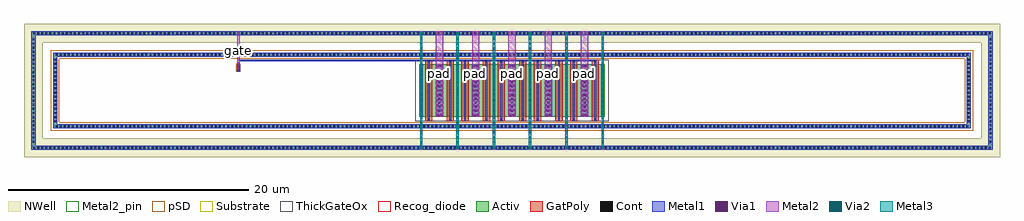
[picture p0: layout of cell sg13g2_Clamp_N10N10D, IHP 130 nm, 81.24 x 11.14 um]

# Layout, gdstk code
import gdstk
lib = gdstk.Library(unit=1e-6, precision=1e-09)
def R(c, l, rs):  # rectangles x0, y0, x1, y1
    for r in rs: c.add(gdstk.rectangle(r[:2], r[2:], *l))
def A(c, l, x, y, w, h, nx, ny, dx, dy):  # array of equal rectangles
    R(c, l, [(x+i*dx, y+j*dy, x+i*dx+w, y+j*dy+h) for i in range(nx) for j in range(ny)])
def P(c, l, *ps):  # polygons
    for p in ps: c.add(gdstk.Polygon(p, *l))
Activ = (1, 0)
GatPoly = (5, 0)
Cont = (6, 0)
Metal1 = (8, 0)
Metal2 = (10, 0)
Metal2_pin = (10, 2)
pSD = (14, 0)
Via1 = (19, 0)
Via2 = (29, 0)
Metal3 = (30, 0)
NWell = (31, 0)
Substrate = (40, 0)
ThickGateOx = (44, 0)
Recog_diode = (99, 31)

sg13g2_guardring_n16000w = lib.new_cell('sg13g2_GuardRing_N16000W1980HFF')
P(sg13g2_guardring_n16000w, Activ, [(-40,-4.95),(-40,4.61),(-39.66,4.61),(-39.66,-4.61),(39.66,-4.61),(39.66,4.61),(-40,4.61),(-40,4.95),(40,4.95),(40,-4.95)])
A(sg13g2_guardring_n16000w, Cont, -39.86, -4.86, 0.16, 0.16, 235, 2, 0.34, 9.56)
A(sg13g2_guardring_n16000w, Cont, -39.91, -4.33, 0.16, 0.16, 1, 26, 0, 0.34)
A(sg13g2_guardring_n16000w, Cont, 39.75, -4.33, 0.16, 0.16, 1, 26, 0, 0.34)
P(sg13g2_guardring_n16000w, Metal1, [(-40,-4.95),(-40,4.61),(-39.66,4.61),(-39.66,-4.61),(39.66,-4.61),(39.66,4.61),(-40,4.61),(-40,4.95),(40,4.95),(40,-4.95)])
P(sg13g2_guardring_n16000w, NWell, [(-40.62,-5.57),(-40.62,3.99),(-39.04,3.99),(-39.04,-3.99),(39.04,-3.99),(39.04,3.99),(-40.62,3.99),(-40.62,5.57),(40.62,5.57),(40.62,-5.57)])

sg13g2_guardring_p15280w = lib.new_cell('sg13g2_GuardRing_P15280W1260HFF')
P(sg13g2_guardring_p15280w, Activ, [(-38.2,-3.15),(-38.2,2.81),(-37.86,2.81),(-37.86,-2.81),(37.86,-2.81),(37.86,2.81),(-38.2,2.81),(-38.2,3.15),(38.2,3.15),(38.2,-3.15)])
A(sg13g2_guardring_p15280w, Cont, -37.99, -3.06, 0.16, 0.16, 224, 2, 0.34, 5.96)
A(sg13g2_guardring_p15280w, Cont, -38.11, -2.63, 0.16, 0.16, 1, 16, 0, 0.34)
A(sg13g2_guardring_p15280w, Cont, 37.95, -2.63, 0.16, 0.16, 1, 16, 0, 0.34)
P(sg13g2_guardring_p15280w, Metal1, [(-38.2,-3.15),(-38.2,2.81),(-37.86,2.81),(-37.86,-2.81),(37.86,-2.81),(37.86,2.81),(-38.2,2.81),(-38.2,3.15),(38.2,3.15),(38.2,-3.15)])
P(sg13g2_guardring_p15280w, pSD, [(-38.38,-3.33),(-38.38,2.63),(-37.68,2.63),(-37.68,-2.63),(37.68,-2.63),(37.68,2.63),(-38.38,2.63),(-38.38,3.33),(38.38,3.33),(38.38,-3.33)])
P(sg13g2_guardring_p15280w, Substrate, [(-38.2,-3.15),(-38.2,2.81),(-37.86,2.81),(-37.86,-2.81),(37.86,-2.81),(37.86,2.81),(-38.2,2.81),(-38.2,3.15),(38.2,3.15),(38.2,-3.15)])
sg13g2_guardring_p15280w.add(gdstk.Label('sub!', (-38.03,-2.98), layer=63, texttype=0))

sg13g2_clamp_n10n10d = lib.new_cell('sg13g2_Clamp_N10N10D')
R(sg13g2_clamp_n10n10d, Activ, [(32.3,2.75,47.7,7.15), (17.07,6.51,17.37,7.15)])
R(sg13g2_clamp_n10n10d, GatPoly, [(32.77,2.38,33.37,7.52), (34.55,2.38,35.15,7.52), (35.79,2.38,36.39,7.52), (37.57,2.38,38.17,7.52), (38.81,2.38,39.41,7.52), (40.59,2.38,41.19,7.52), (41.83,2.38,42.43,7.52), (43.61,2.38,44.21,7.52), (44.85,2.38,45.45,7.52), (46.63,2.38,47.23,7.52)])
A(sg13g2_clamp_n10n10d, Cont, 32.37, 2.83, 0.16, 0.16, 11, 13, 1.51, 0.34)
R(sg13g2_clamp_n10n10d, Cont, [(32.99,2.45,33.15,2.61), (34.77,2.45,34.93,2.61), (36.01,2.45,36.17,2.61), (37.79,2.45,37.95,2.61), (39.03,2.45,39.19,2.61), (40.81,2.45,40.97,2.61), (42.05,2.45,42.21,2.61), (43.83,2.45,43.99,2.61), (45.07,2.45,45.23,2.61), (46.85,2.45,47.01,2.61), (17.14,6.58,17.3,6.74), (17.14,6.92,17.3,7.08), (32.99,7.29,33.15,7.45), (34.77,7.29,34.93,7.45), (36.01,7.29,36.17,7.45), (37.79,7.29,37.95,7.45), (39.03,7.29,39.19,7.45), (40.81,7.29,40.97,7.45), (42.05,7.29,42.21,7.45), (43.83,7.29,43.99,7.45), (45.07,7.29,45.23,7.45), (46.85,7.29,47.01,7.45)])
A(sg13g2_clamp_n10n10d, Metal1, 32.345, 1.8, 0.21, 0.34, 6, 2, 3.02, 5.96)
A(sg13g2_clamp_n10n10d, Metal1, 32.345, 2.75, 0.21, 4.4, 6, 1, 3.02, 0)
A(sg13g2_clamp_n10n10d, Metal1, 33.65, 2.75, 0.62, 4.4, 5, 1, 3.02, 0)
P(sg13g2_clamp_n10n10d, Metal1, [(32.99,2.37),(32.99,7.37),(17.325,7.37),(17.325,6.5),(17.115,6.5),(17.115,7.53),(47.01,7.53),(47.01,2.37),(46.85,2.37),(46.85,7.37),(45.23,7.37),(45.23,2.37),(45.07,2.37),(45.07,7.37),(43.99,7.37),(43.99,2.37),(43.83,2.37),(43.83,7.37),(42.21,7.37),(42.21,2.37),(42.05,2.37),(42.05,7.37),(40.97,7.37),(40.97,2.37),(40.81,2.37),(40.81,7.37),(39.19,7.37),(39.19,2.37),(39.03,2.37),(39.03,7.37),(37.95,7.37),(37.95,2.37),(37.79,2.37),(37.79,7.37),(36.17,7.37),(36.17,2.37),(36.01,2.37),(36.01,7.37),(34.93,7.37),(34.93,2.37),(34.77,2.37),(34.77,7.37),(33.15,7.37),(33.15,2.37)])
A(sg13g2_clamp_n10n10d, Metal2, 32.35, 0, 0.2, 9.9, 6, 1, 3.02, 0)
A(sg13g2_clamp_n10n10d, Metal2, 33.655, 2.755, 0.61, 7.145, 5, 1, 3.02, 0)
R(sg13g2_clamp_n10n10d, Metal2, [(17.12,6.665,17.32,9.9)])
A(sg13g2_clamp_n10n10d, Metal2_pin, 33.655, 2.755, 0.61, 7.145, 5, 1, 3.02, 0)
R(sg13g2_clamp_n10n10d, Metal2_pin, [(17.12,6.665,17.32,9.9)])
A(sg13g2_clamp_n10n10d, Via1, 32.355, 1.875, 0.19, 0.19, 6, 2, 3.02, 5.96)
A(sg13g2_clamp_n10n10d, Via1, 32.355, 2.805, 0.19, 0.19, 1, 11, 0, 0.41)
A(sg13g2_clamp_n10n10d, Via1, 33.66, 2.805, 0.19, 0.19, 1, 11, 0, 0.41)
A(sg13g2_clamp_n10n10d, Via1, 34.07, 2.805, 0.19, 0.19, 3, 11, 1.305, 0.41)
A(sg13g2_clamp_n10n10d, Via1, 37.09, 2.805, 0.19, 0.19, 3, 11, 1.305, 0.41)
A(sg13g2_clamp_n10n10d, Via1, 40.11, 2.805, 0.19, 0.19, 3, 11, 1.305, 0.41)
A(sg13g2_clamp_n10n10d, Via1, 43.13, 2.805, 0.19, 0.19, 3, 11, 1.305, 0.41)
A(sg13g2_clamp_n10n10d, Via1, 46.15, 2.805, 0.19, 0.19, 1, 11, 0, 0.41)
A(sg13g2_clamp_n10n10d, Via1, 47.455, 2.805, 0.19, 0.19, 1, 11, 0, 0.41)
R(sg13g2_clamp_n10n10d, Via1, [(17.125,6.715,17.315,6.905), (17.125,7.125,17.315,7.315)])
A(sg13g2_clamp_n10n10d, Via2, 32.355, 0.14, 0.19, 0.19, 6, 24, 3.02, 0.41)
A(sg13g2_clamp_n10n10d, Metal3, 32.35, 0.09, 0.2, 9.72, 6, 1, 3.02, 0)
R(sg13g2_clamp_n10n10d, ThickGateOx, [(31.96,2.41,48.04,7.49)])
R(sg13g2_clamp_n10n10d, Recog_diode, [(17.05,6.49,17.39,7.17)])
sg13g2_clamp_n10n10d.add(gdstk.Reference(sg13g2_guardring_n16000w, (40,4.95)))
sg13g2_clamp_n10n10d.add(gdstk.Reference(sg13g2_guardring_p15280w, (40,4.95)))
sg13g2_clamp_n10n10d.add(gdstk.Label('pad', (36.98,6.328), layer=10, texttype=25))
sg13g2_clamp_n10n10d.add(gdstk.Label('pad', (33.96,6.328), layer=10, texttype=25))
sg13g2_clamp_n10n10d.add(gdstk.Label('pad', (40,6.328), layer=10, texttype=25))
sg13g2_clamp_n10n10d.add(gdstk.Label('pad', (46.04,6.328), layer=10, texttype=25))
sg13g2_clamp_n10n10d.add(gdstk.Label('pad', (43.02,6.328), layer=10, texttype=25))
sg13g2_clamp_n10n10d.add(gdstk.Label('gate', (17.22,8.282), layer=10, texttype=25))

lib.write_gds('sg13g2_Clamp_N10N10D.gds')
